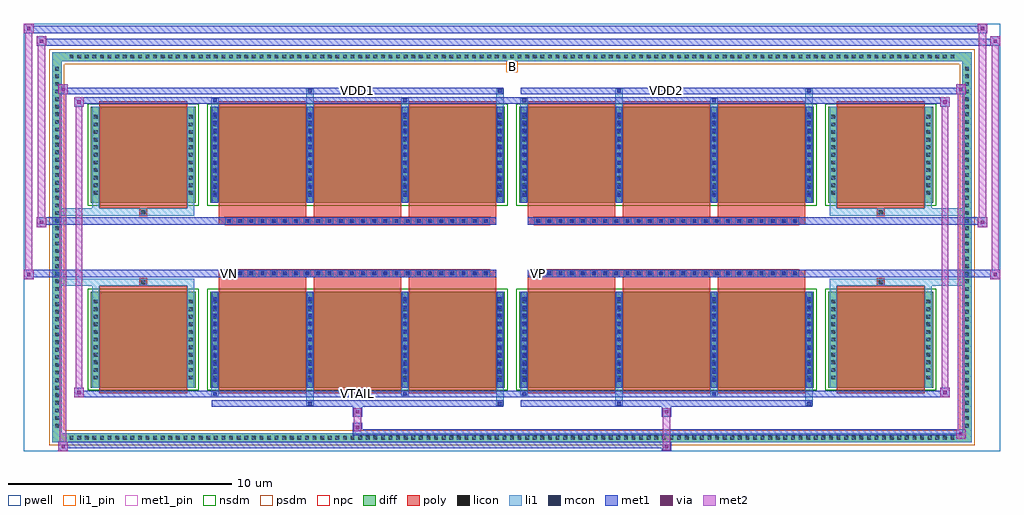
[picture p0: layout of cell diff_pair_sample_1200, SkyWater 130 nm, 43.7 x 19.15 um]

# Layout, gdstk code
import gdstk
lib = gdstk.Library(unit=1e-6, precision=5e-09)
def R(c, l, rs):  # rectangles x0, y0, x1, y1
    for r in rs: c.add(gdstk.rectangle(r[:2], r[2:], *l))
def A(c, l, x, y, w, h, nx, ny, dx, dy):  # array of equal rectangles
    R(c, l, [(x+i*dx, y+j*dy, x+i*dx+w, y+j*dy+h) for i in range(nx) for j in range(ny)])
def P(c, l, *ps):  # polygons
    for p in ps: c.add(gdstk.Polygon(p, *l))
pwell = (64, 44)
diff = (65, 20)
poly = (66, 20)
licon = (66, 44)
li1_pin = (67, 16)
li1 = (67, 20)
mcon = (67, 44)
met1_pin = (68, 16)
met1 = (68, 20)
via = (68, 44)
met2 = (69, 20)
nsdm = (93, 44)
psdm = (94, 20)
npc = (95, 20)

diff_pair_sample_1200 = lib.new_cell('diff_pair_sample_1200')
R(diff_pair_sample_1200, pwell, [(-21.85,-9.14,21.85,10.01), (-19.17,-7.33,-0.01,-0.805), (0.01,-7.33,19.17,-0.805), (-19.17,0.805,-0.01,7.33), (0.01,0.805,19.17,7.33)])
A(diff_pair_sample_1200, diff, -19.925, -8.74, 0.41, 0.41, 117, 2, 0.34, 17.07)
A(diff_pair_sample_1200, diff, -20.58, -8.195, 0.41, 0.41, 1, 48, 0, 0.34)
A(diff_pair_sample_1200, diff, 20.17, -8.195, 0.41, 0.41, 1, 48, 0, 0.34)
R(diff_pair_sample_1200, diff, [(-19.925,-8.74,19.925,-8.33), (-20.58,-8.195,-20.17,8.195), (20.17,-8.195,20.58,8.195), (-18.86,-6.285,-14.16,-1.985), (-13.52,-6.285,-0.32,-1.985), (0.32,-6.285,13.52,-1.985), (14.16,-6.285,18.86,-1.985), (-18.86,1.985,-14.16,6.285), (-13.52,1.985,-0.32,6.285), (0.32,1.985,13.52,6.285), (14.16,1.985,18.86,6.285), (-19.925,8.33,19.925,8.74)])
P(diff_pair_sample_1200, diff, [(20.58,8.74),(-20.58,8.74),(-20.58,-8.33),(-20.17,-8.33),(-20.17,8.33),(20.17,8.33),(20.17,-8.33),(-20.17,-8.33),(-20.58,-8.33),(-20.58,-8.74),(20.58,-8.74)])
A(diff_pair_sample_1200, poly, -13.13, -6.535, 3.92, 4.8, 3, 2, 4.25, 8.27)
A(diff_pair_sample_1200, poly, 0.71, -6.535, 3.92, 4.8, 3, 2, 4.25, 8.27)
A(diff_pair_sample_1200, poly, -13.13, -1.735, 3.92, 0.4, 3, 2, 4.25, 3.07)
A(diff_pair_sample_1200, poly, 0.71, -1.735, 3.92, 0.4, 3, 2, 4.25, 3.07)
A(diff_pair_sample_1200, poly, -12.835, -1.335, 0.33, 0.33, 24, 2, 0.5, 2.34)
A(diff_pair_sample_1200, poly, 1.005, -1.335, 0.33, 0.33, 24, 2, 0.5, 2.34)
R(diff_pair_sample_1200, poly, [(-18.47,-6.535,-14.55,-1.735), (14.55,-6.535,18.47,-1.735), (-16.675,-1.735,-16.345,-1.405), (-16.675,-1.735,-16.345,-1.405), (16.345,-1.735,16.675,-1.405), (16.345,-1.735,16.675,-1.405), (-13.13,-1.335,-0.71,-1.005), (0.71,-1.335,13.13,-1.005), (-13.13,1.005,-0.71,1.335), (0.71,1.005,13.13,1.335), (-16.675,1.405,-16.345,1.735), (-16.675,1.405,-16.345,1.735), (16.345,1.405,16.675,1.735), (16.345,1.405,16.675,1.735), (-18.47,1.735,-14.55,6.535), (14.55,1.735,18.47,6.535)])
A(diff_pair_sample_1200, licon, -19.805, -8.62, 0.17, 0.17, 117, 2, 0.34, 17.07)
A(diff_pair_sample_1200, licon, -20.46, -8.075, 0.17, 0.17, 1, 48, 0, 0.34)
A(diff_pair_sample_1200, licon, 20.29, -8.075, 0.17, 0.17, 1, 48, 0, 0.34)
A(diff_pair_sample_1200, licon, -18.72, -5.92, 0.17, 0.17, 1, 11, 0, 0.34)
A(diff_pair_sample_1200, licon, -14.47, -5.92, 0.17, 0.17, 1, 11, 0, 0.34)
A(diff_pair_sample_1200, licon, -13.38, -5.92, 0.17, 0.17, 4, 11, 4.25, 0.34)
A(diff_pair_sample_1200, licon, 0.46, -5.92, 0.17, 0.17, 4, 11, 4.25, 0.34)
A(diff_pair_sample_1200, licon, 14.3, -5.92, 0.17, 0.17, 1, 11, 0, 0.34)
A(diff_pair_sample_1200, licon, 18.55, -5.92, 0.17, 0.17, 1, 11, 0, 0.34)
A(diff_pair_sample_1200, licon, -12.755, -1.255, 0.17, 0.17, 24, 2, 0.5, 2.34)
A(diff_pair_sample_1200, licon, 1.085, -1.255, 0.17, 0.17, 24, 2, 0.5, 2.34)
A(diff_pair_sample_1200, licon, -18.72, 2.35, 0.17, 0.17, 1, 11, 0, 0.34)
A(diff_pair_sample_1200, licon, -14.47, 2.35, 0.17, 0.17, 1, 11, 0, 0.34)
A(diff_pair_sample_1200, licon, -13.38, 2.35, 0.17, 0.17, 4, 11, 4.25, 0.34)
A(diff_pair_sample_1200, licon, 0.46, 2.35, 0.17, 0.17, 4, 11, 4.25, 0.34)
A(diff_pair_sample_1200, licon, 14.3, 2.35, 0.17, 0.17, 1, 11, 0, 0.34)
A(diff_pair_sample_1200, licon, 18.55, 2.35, 0.17, 0.17, 1, 11, 0, 0.34)
R(diff_pair_sample_1200, licon, [(-16.595,-1.655,-16.425,-1.485), (16.425,-1.655,16.595,-1.485), (-16.595,1.485,-16.425,1.655), (16.425,1.485,16.595,1.655)])
R(diff_pair_sample_1200, li1_pin, [(-0.25,7.83,0.25,8.33)])
A(diff_pair_sample_1200, li1, -19.885, -8.7, 0.33, 0.33, 117, 2, 0.34, 17.07)
A(diff_pair_sample_1200, li1, -20.54, -8.155, 0.33, 0.33, 1, 48, 0, 0.34)
A(diff_pair_sample_1200, li1, 20.21, -8.155, 0.33, 0.33, 1, 48, 0, 0.34)
A(diff_pair_sample_1200, li1, -13.46, -6.285, 0.33, 4.3, 4, 2, 4.25, 8.27)
A(diff_pair_sample_1200, li1, 0.38, -6.285, 0.33, 4.3, 4, 2, 4.25, 8.27)
A(diff_pair_sample_1200, li1, -13.38, -6.02, 0.17, 0.17, 4, 11, 4.25, 0.36)
A(diff_pair_sample_1200, li1, -13.38, -6.02, 0.17, 3.77, 4, 2, 4.25, 8.27)
A(diff_pair_sample_1200, li1, 0.46, -6.02, 0.17, 0.17, 4, 11, 4.25, 0.36)
A(diff_pair_sample_1200, li1, 0.46, -6.02, 0.17, 3.77, 4, 2, 4.25, 8.27)
A(diff_pair_sample_1200, li1, -18.8, -6, 0.33, 0.33, 1, 11, 0, 0.34)
A(diff_pair_sample_1200, li1, -14.55, -6, 0.33, 0.33, 1, 11, 0, 0.34)
A(diff_pair_sample_1200, li1, -13.46, -6, 0.33, 0.33, 4, 11, 4.25, 0.34)
A(diff_pair_sample_1200, li1, 0.38, -6, 0.33, 0.33, 4, 11, 4.25, 0.34)
A(diff_pair_sample_1200, li1, 14.22, -6, 0.33, 0.33, 1, 11, 0, 0.34)
A(diff_pair_sample_1200, li1, 18.47, -6, 0.33, 0.33, 1, 11, 0, 0.34)
A(diff_pair_sample_1200, li1, -12.835, -1.335, 0.33, 0.33, 24, 2, 0.5, 2.34)
A(diff_pair_sample_1200, li1, 1.005, -1.335, 0.33, 0.33, 24, 2, 0.5, 2.34)
A(diff_pair_sample_1200, li1, -13.38, 2.25, 0.17, 0.17, 4, 11, 4.25, 0.36)
A(diff_pair_sample_1200, li1, 0.46, 2.25, 0.17, 0.17, 4, 11, 4.25, 0.36)
A(diff_pair_sample_1200, li1, -18.8, 2.27, 0.33, 0.33, 1, 11, 0, 0.34)
A(diff_pair_sample_1200, li1, -14.55, 2.27, 0.33, 0.33, 1, 11, 0, 0.34)
A(diff_pair_sample_1200, li1, -13.46, 2.27, 0.33, 0.33, 4, 11, 4.25, 0.34)
A(diff_pair_sample_1200, li1, 0.38, 2.27, 0.33, 0.33, 4, 11, 4.25, 0.34)
A(diff_pair_sample_1200, li1, 14.22, 2.27, 0.33, 0.33, 1, 11, 0, 0.34)
A(diff_pair_sample_1200, li1, 18.47, 2.27, 0.33, 0.33, 1, 11, 0, 0.34)
R(diff_pair_sample_1200, li1, [(-20.58,-8.74,-20.17,-8.33), (-20.58,-8.74,-20.17,-8.33), (-20.17,-8.74,20.17,-8.33), (20.17,-8.74,20.58,-8.33), (20.17,-8.74,20.58,-8.33), (-20.58,-8.33,-20.17,8.33), (20.17,-8.33,20.58,8.33), (-9.21,-7.09,-8.88,-6.285), (-9.13,-7.09,-8.96,-6.92), (-0.71,-7.09,-0.38,-6.285), (-0.63,-7.09,-0.46,-6.92), (4.63,-7.09,4.96,-6.285), (4.71,-7.09,4.88,-6.92), (13.13,-7.09,13.46,-6.285), (13.21,-7.09,13.38,-6.92), (-13.46,-6.66,-13.13,-6.285), (-13.38,-6.66,-13.21,-6.49), (-4.96,-6.66,-4.63,-6.285), (-4.88,-6.66,-4.71,-6.49), (0.38,-6.66,0.71,-6.285), (0.46,-6.66,0.63,-6.49), (8.88,-6.66,9.21,-6.285), (8.96,-6.66,9.13,-6.49), (-18.8,-6.285,-18.47,-1.985), (-14.55,-6.285,-14.22,-1.985), (14.22,-6.285,14.55,-1.985), (18.47,-6.285,18.8,-1.985), (-18.8,-1.985,-18.47,-1.405), (-14.55,-1.985,-14.22,-1.405), (14.22,-1.985,14.55,-1.405), (18.47,-1.985,18.8,-1.405), (-20.58,-1.735,-16.675,-1.405), (-18.8,-1.735,-16.675,-1.405), (-16.675,-1.735,-16.345,-1.405), (-16.345,-1.735,-14.22,-1.405), (14.22,-1.735,16.345,-1.405), (16.345,-1.735,16.675,-1.405), (16.345,-1.735,20.58,-1.405), (16.675,-1.735,18.8,-1.405), (-20.58,1.405,-16.675,1.735), (-18.8,1.405,-16.675,1.735), (-18.8,1.405,-18.47,1.985), (-16.675,1.405,-16.345,1.735), (-16.345,1.405,-14.22,1.735), (-14.55,1.405,-14.22,1.985), (14.22,1.405,16.345,1.735), (14.22,1.405,14.55,1.985), (16.345,1.405,16.675,1.735), (16.345,1.405,20.58,1.735), (16.675,1.405,18.8,1.735), (18.47,1.405,18.8,1.985), (-18.8,1.985,-18.47,6.285), (-14.55,1.985,-14.22,6.285), (14.22,1.985,14.55,6.285), (18.47,1.985,18.8,6.285), (-13.46,6.285,-13.13,6.66), (-9.21,6.285,-8.88,7.09), (-4.96,6.285,-4.63,6.66), (-0.71,6.285,-0.38,7.09), (0.38,6.285,0.71,6.66), (4.63,6.285,4.96,7.09), (8.88,6.285,9.21,6.66), (13.13,6.285,13.46,7.09), (-13.38,6.49,-13.21,6.66), (-4.88,6.49,-4.71,6.66), (0.46,6.49,0.63,6.66), (8.96,6.49,9.13,6.66), (-9.13,6.92,-8.96,7.09), (-0.63,6.92,-0.46,7.09), (4.71,6.92,4.88,7.09), (13.21,6.92,13.38,7.09), (-20.58,8.33,-20.17,8.74), (-20.58,8.33,-20.17,8.74), (-20.17,8.33,20.17,8.74), (20.17,8.33,20.58,8.74), (20.17,8.33,20.58,8.74)])
A(diff_pair_sample_1200, mcon, -13.38, -6.02, 0.17, 0.17, 4, 11, 4.25, 0.36)
A(diff_pair_sample_1200, mcon, 0.46, -6.02, 0.17, 0.17, 4, 11, 4.25, 0.36)
A(diff_pair_sample_1200, mcon, -12.755, -1.255, 0.17, 0.17, 24, 2, 0.5, 2.34)
A(diff_pair_sample_1200, mcon, 1.085, -1.255, 0.17, 0.17, 24, 2, 0.5, 2.34)
A(diff_pair_sample_1200, mcon, -13.38, 2.25, 0.17, 0.17, 4, 11, 4.25, 0.36)
A(diff_pair_sample_1200, mcon, 0.46, 2.25, 0.17, 0.17, 4, 11, 4.25, 0.36)
R(diff_pair_sample_1200, mcon, [(-9.13,-7.09,-8.96,-6.92), (-0.63,-7.09,-0.46,-6.92), (4.71,-7.09,4.88,-6.92), (13.21,-7.09,13.38,-6.92), (-13.38,-6.66,-13.21,-6.49), (-4.88,-6.66,-4.71,-6.49), (0.46,-6.66,0.63,-6.49), (8.96,-6.66,9.13,-6.49), (-13.38,6.49,-13.21,6.66), (-4.88,6.49,-4.71,6.66), (0.46,6.49,0.63,6.66), (8.96,6.49,9.13,6.66), (-9.13,6.92,-8.96,7.09), (-0.63,6.92,-0.46,7.09), (4.71,6.92,4.88,7.09), (13.21,6.92,13.38,7.09)])
R(diff_pair_sample_1200, met1_pin, [(-7.055,-6.7,-6.785,-6.43), (-12.805,-1.295,-12.535,-1.025), (1.035,-1.295,1.305,-1.025), (-7.055,6.88,-6.785,7.15), (6.785,6.88,7.055,7.15)])
A(diff_pair_sample_1200, met1, -13.44, -6.285, 0.29, 4.3, 4, 2, 4.25, 8.27)
A(diff_pair_sample_1200, met1, 0.4, -6.285, 0.29, 4.3, 4, 2, 4.25, 8.27)
A(diff_pair_sample_1200, met1, -13.44, -6.08, 0.29, 0.29, 4, 11, 4.25, 0.36)
A(diff_pair_sample_1200, met1, 0.4, -6.08, 0.29, 0.29, 4, 11, 4.25, 0.36)
A(diff_pair_sample_1200, met1, -12.815, -1.315, 0.29, 0.29, 24, 2, 0.5, 2.34)
A(diff_pair_sample_1200, met1, 1.025, -1.315, 0.29, 0.29, 24, 2, 0.5, 2.34)
A(diff_pair_sample_1200, met1, -13.44, 2.19, 0.29, 0.29, 4, 11, 4.25, 0.36)
A(diff_pair_sample_1200, met1, 0.4, 2.19, 0.29, 0.29, 4, 11, 4.25, 0.36)
R(diff_pair_sample_1200, met1, [(-20.31,-9.14,-19.88,-8.71), (6.705,-9.14,7.135,-8.71), (-20.31,-9,7.135,-8.71), (19.88,-8.57,20.31,-8.14), (-7.135,-8.43,20.31,-8.14), (-7.135,-8.29,-6.705,-7.86), (-7.135,-7.58,-6.705,-7.15), (6.705,-7.58,7.135,-7.15), (-13.44,-7.15,-0.4,-6.86), (-9.19,-7.15,-8.9,-6.86), (-0.69,-7.15,-0.4,-6.86), (0.4,-7.15,13.44,-6.86), (4.65,-7.15,4.94,-6.86), (13.15,-7.15,13.44,-6.86), (-19.6,-6.72,-19.17,-6.29), (-19.6,-6.72,-13.44,-6.43), (-13.44,-6.72,-13.15,-6.43), (-13.44,-6.72,-0.4,-6.43), (-4.94,-6.72,-4.65,-6.43), (-0.4,-6.72,0.4,-6.43), (0.4,-6.72,0.69,-6.43), (0.4,-6.72,13.44,-6.43), (8.9,-6.72,9.19,-6.43), (13.44,-6.72,19.6,-6.43), (19.17,-6.72,19.6,-6.29), (-21.85,-1.435,-21.42,-1.005), (21.42,-1.435,21.85,-1.005), (-21.85,-1.335,-0.71,-1.005), (-13.13,-1.335,-0.71,-1.005), (0.71,-1.335,13.13,-1.005), (0.71,-1.335,21.85,-1.005), (-21.28,0.905,-20.85,1.335), (20.85,0.905,21.28,1.335), (-21.28,1.005,-13.13,1.335), (-13.13,1.005,-0.71,1.335), (0.71,1.005,13.13,1.335), (13.13,1.005,21.28,1.335), (-19.6,6.29,-19.17,6.72), (19.17,6.29,19.6,6.72), (-19.6,6.43,-13.44,6.72), (-13.44,6.43,-13.15,6.72), (-13.44,6.43,-0.4,6.72), (-4.94,6.43,-4.65,6.72), (-0.4,6.43,0.4,6.72), (0.4,6.43,0.69,6.72), (0.4,6.43,13.44,6.72), (8.9,6.43,9.19,6.72), (13.44,6.43,19.6,6.72), (-20.31,6.86,-19.88,7.29), (-20.31,6.86,-13.44,7.15), (-13.44,6.86,-0.4,7.15), (-9.19,6.86,-8.9,7.15), (-0.69,6.86,-0.4,7.15), (0.4,6.86,13.44,7.15), (4.65,6.86,4.94,7.15), (13.15,6.86,13.44,7.15), (13.44,6.86,20.31,7.15), (19.88,6.86,20.31,7.29), (-21.28,9.01,-20.85,9.44), (-21.28,9.01,-19.17,9.34), (-19.17,9.01,19.17,9.34), (19.17,9.01,21.85,9.34), (21.42,9.01,21.85,9.44), (-21.85,9.58,-21.42,10.01), (-21.85,9.58,-19.17,9.91), (-19.17,9.58,19.17,9.91), (19.17,9.58,21.28,9.91), (20.85,9.58,21.28,10.01)])
R(diff_pair_sample_1200, via, [(-20.17,-9,-20.02,-8.85), (6.845,-9,6.995,-8.85), (20.02,-8.43,20.17,-8.28), (-6.995,-8.15,-6.845,-8), (-6.995,-7.44,-6.845,-7.29), (6.845,-7.44,6.995,-7.29), (-19.46,-6.58,-19.31,-6.43), (19.31,-6.58,19.46,-6.43), (-21.71,-1.295,-21.56,-1.145), (21.56,-1.295,21.71,-1.145), (-21.14,1.045,-20.99,1.195), (20.99,1.045,21.14,1.195), (-19.46,6.43,-19.31,6.58), (19.31,6.43,19.46,6.58), (-20.17,7,-20.02,7.15), (20.02,7,20.17,7.15), (-21.14,9.15,-20.99,9.3), (21.56,9.15,21.71,9.3), (-21.71,9.72,-21.56,9.87), (20.99,9.72,21.14,9.87)])
R(diff_pair_sample_1200, met2, [(-20.31,-9.14,-19.88,-8.71), (-20.24,-9.14,-19.95,7.29), (-19.95,-9.14,-19.88,-8.71), (-20.26,-9.09,-19.93,-8.76), (6.755,-9.09,7.085,-8.76), (6.755,-8.76,7.085,-7.53), (19.88,-8.57,20.31,-8.14), (19.95,-8.57,20.24,7.29), (20.24,-8.57,20.31,-8.14), (19.93,-8.52,20.26,-8.19), (-7.085,-8.24,-6.755,-7.91), (-7.085,-7.91,-6.755,-7.53), (-7.085,-7.53,-6.755,-7.2), (6.755,-7.53,7.085,-7.2), (-19.6,-6.72,-19.17,-6.29), (-19.53,-6.72,-19.24,6.72), (-19.24,-6.72,-19.17,-6.29), (19.17,-6.72,19.6,-6.29), (19.24,-6.72,19.53,6.72), (19.53,-6.72,19.6,-6.29), (-19.55,-6.67,-19.22,-6.34), (19.22,-6.67,19.55,-6.34), (-21.85,-1.435,-21.42,-1.005), (-21.8,-1.435,-21.47,10.01), (-21.47,-1.435,-21.42,-1.005), (21.42,-1.435,21.85,-1.005), (21.47,-1.435,21.8,9.44), (21.8,-1.435,21.85,-1.005), (-21.8,-1.385,-21.47,-1.055), (21.47,-1.385,21.8,-1.055), (-21.28,0.905,-20.85,1.335), (-21.23,0.905,-20.9,9.44), (-20.9,0.905,-20.85,1.335), (20.85,0.905,21.28,1.335), (20.9,0.905,21.23,10.01), (21.23,0.905,21.28,1.335), (-21.23,0.955,-20.9,1.285), (20.9,0.955,21.23,1.285), (-19.6,6.29,-19.17,6.72), (-19.24,6.29,-19.17,6.72), (19.17,6.29,19.6,6.72), (19.53,6.29,19.6,6.72), (-19.55,6.34,-19.22,6.67), (19.22,6.34,19.55,6.67), (-20.31,6.86,-19.88,7.29), (-19.95,6.86,-19.88,7.29), (19.88,6.86,20.31,7.29), (20.24,6.86,20.31,7.29), (-20.26,6.91,-19.93,7.24), (19.93,6.91,20.26,7.24), (-21.28,9.01,-20.85,9.44), (-20.9,9.01,-20.85,9.44), (21.42,9.01,21.85,9.44), (21.8,9.01,21.85,9.44), (-21.23,9.06,-20.9,9.39), (21.47,9.06,21.8,9.39), (-21.85,9.58,-21.42,10.01), (-21.47,9.58,-21.42,10.01), (20.85,9.58,21.28,10.01), (21.23,9.58,21.28,10.01), (-21.8,9.63,-21.47,9.96), (20.9,9.63,21.23,9.96)])
R(diff_pair_sample_1200, nsdm, [(-18.99,-6.415,-14.03,-1.855), (-13.65,-6.415,-0.19,-1.855), (0.19,-6.415,13.65,-1.855), (14.03,-6.415,18.99,-1.855), (-18.99,1.855,-14.03,6.415), (-13.65,1.855,-0.19,6.415), (0.19,1.855,13.65,6.415), (14.03,1.855,18.99,6.415)])
P(diff_pair_sample_1200, psdm, [(20.71,8.87),(-20.71,8.87),(-20.71,-8.2),(-20.04,-8.2),(-20.04,8.2),(20.04,8.2),(20.04,-8.2),(-20.04,-8.2),(-20.71,-8.2),(-20.71,-8.87),(20.71,-8.87)])
A(diff_pair_sample_1200, npc, -12.855, -1.355, 0.37, 0.37, 24, 2, 0.5, 2.34)
A(diff_pair_sample_1200, npc, 0.985, -1.355, 0.37, 0.37, 24, 2, 0.5, 2.34)
R(diff_pair_sample_1200, npc, [(-16.695,-1.755,-16.325,-1.385), (16.325,-1.755,16.695,-1.385), (-12.855,-1.355,-11.985,-0.985), (-12.855,-1.355,-11.985,-0.985), (-12.355,-1.355,-11.485,-0.985), (-12.355,-1.355,-11.485,-0.985), (-11.855,-1.355,-10.985,-0.985), (-11.855,-1.355,-10.985,-0.985), (-11.355,-1.355,-10.485,-0.985), (-11.355,-1.355,-10.485,-0.985), (-10.855,-1.355,-9.985,-0.985), (-10.855,-1.355,-9.985,-0.985), (-10.355,-1.355,-9.485,-0.985), (-10.355,-1.355,-9.485,-0.985), (-9.855,-1.355,-8.985,-0.985), (-9.855,-1.355,-8.985,-0.985), (-9.355,-1.355,-8.485,-0.985), (-9.355,-1.355,-8.485,-0.985), (-8.855,-1.355,-7.985,-0.985), (-8.855,-1.355,-7.985,-0.985), (-8.355,-1.355,-7.485,-0.985), (-8.355,-1.355,-7.485,-0.985), (-7.855,-1.355,-6.985,-0.985), (-7.855,-1.355,-6.985,-0.985), (-7.355,-1.355,-6.485,-0.985), (-7.355,-1.355,-6.485,-0.985), (-6.855,-1.355,-5.985,-0.985), (-6.855,-1.355,-5.985,-0.985), (-6.355,-1.355,-5.485,-0.985), (-6.355,-1.355,-5.485,-0.985), (-5.855,-1.355,-4.985,-0.985), (-5.855,-1.355,-4.985,-0.985), (-5.355,-1.355,-4.485,-0.985), (-5.355,-1.355,-4.485,-0.985), (-4.855,-1.355,-3.985,-0.985), (-4.855,-1.355,-3.985,-0.985), (-4.355,-1.355,-3.485,-0.985), (-4.355,-1.355,-3.485,-0.985), (-3.855,-1.355,-2.985,-0.985), (-3.855,-1.355,-2.985,-0.985), (-3.355,-1.355,-2.485,-0.985), (-3.355,-1.355,-2.485,-0.985), (-2.855,-1.355,-1.985,-0.985), (-2.855,-1.355,-1.985,-0.985), (-2.355,-1.355,-1.485,-0.985), (-2.355,-1.355,-1.485,-0.985), (-1.855,-1.355,-0.985,-0.985), (-1.855,-1.355,-0.985,-0.985), (0.985,-1.355,1.855,-0.985), (0.985,-1.355,1.855,-0.985), (1.485,-1.355,2.355,-0.985), (1.485,-1.355,2.355,-0.985), (1.985,-1.355,2.855,-0.985), (1.985,-1.355,2.855,-0.985), (2.485,-1.355,3.355,-0.985), (2.485,-1.355,3.355,-0.985), (2.985,-1.355,3.855,-0.985), (2.985,-1.355,3.855,-0.985), (3.485,-1.355,4.355,-0.985), (3.485,-1.355,4.355,-0.985), (3.985,-1.355,4.855,-0.985), (3.985,-1.355,4.855,-0.985), (4.485,-1.355,5.355,-0.985), (4.485,-1.355,5.355,-0.985), (4.985,-1.355,5.855,-0.985), (4.985,-1.355,5.855,-0.985), (5.485,-1.355,6.355,-0.985), (5.485,-1.355,6.355,-0.985), (5.985,-1.355,6.855,-0.985), (5.985,-1.355,6.855,-0.985), (6.485,-1.355,7.355,-0.985), (6.485,-1.355,7.355,-0.985), (6.985,-1.355,7.855,-0.985), (6.985,-1.355,7.855,-0.985), (7.485,-1.355,8.355,-0.985), (7.485,-1.355,8.355,-0.985), (7.985,-1.355,8.855,-0.985), (7.985,-1.355,8.855,-0.985), (8.485,-1.355,9.355,-0.985), (8.485,-1.355,9.355,-0.985), (8.985,-1.355,9.855,-0.985), (8.985,-1.355,9.855,-0.985), (9.485,-1.355,10.355,-0.985), (9.485,-1.355,10.355,-0.985), (9.985,-1.355,10.855,-0.985), (9.985,-1.355,10.855,-0.985), (10.485,-1.355,11.355,-0.985), (10.485,-1.355,11.355,-0.985), (10.985,-1.355,11.855,-0.985), (10.985,-1.355,11.855,-0.985), (11.485,-1.355,12.355,-0.985), (11.485,-1.355,12.355,-0.985), (11.985,-1.355,12.855,-0.985), (11.985,-1.355,12.855,-0.985), (-12.855,0.985,-11.985,1.355), (-12.855,0.985,-11.985,1.355), (-12.355,0.985,-11.485,1.355), (-12.355,0.985,-11.485,1.355), (-11.855,0.985,-10.985,1.355), (-11.855,0.985,-10.985,1.355), (-11.355,0.985,-10.485,1.355), (-11.355,0.985,-10.485,1.355), (-10.855,0.985,-9.985,1.355), (-10.855,0.985,-9.985,1.355), (-10.355,0.985,-9.485,1.355), (-10.355,0.985,-9.485,1.355), (-9.855,0.985,-8.985,1.355), (-9.855,0.985,-8.985,1.355), (-9.355,0.985,-8.485,1.355), (-9.355,0.985,-8.485,1.355), (-8.855,0.985,-7.985,1.355), (-8.855,0.985,-7.985,1.355), (-8.355,0.985,-7.485,1.355), (-8.355,0.985,-7.485,1.355), (-7.855,0.985,-6.985,1.355), (-7.855,0.985,-6.985,1.355), (-7.355,0.985,-6.485,1.355), (-7.355,0.985,-6.485,1.355), (-6.855,0.985,-5.985,1.355), (-6.855,0.985,-5.985,1.355), (-6.355,0.985,-5.485,1.355), (-6.355,0.985,-5.485,1.355), (-5.855,0.985,-4.985,1.355), (-5.855,0.985,-4.985,1.355), (-5.355,0.985,-4.485,1.355), (-5.355,0.985,-4.485,1.355), (-4.855,0.985,-3.985,1.355), (-4.855,0.985,-3.985,1.355), (-4.355,0.985,-3.485,1.355), (-4.355,0.985,-3.485,1.355), (-3.855,0.985,-2.985,1.355), (-3.855,0.985,-2.985,1.355), (-3.355,0.985,-2.485,1.355), (-3.355,0.985,-2.485,1.355), (-2.855,0.985,-1.985,1.355), (-2.855,0.985,-1.985,1.355), (-2.355,0.985,-1.485,1.355), (-2.355,0.985,-1.485,1.355), (-1.855,0.985,-0.985,1.355), (-1.855,0.985,-0.985,1.355), (0.985,0.985,1.855,1.355), (0.985,0.985,1.855,1.355), (1.485,0.985,2.355,1.355), (1.485,0.985,2.355,1.355), (1.985,0.985,2.855,1.355), (1.985,0.985,2.855,1.355), (2.485,0.985,3.355,1.355), (2.485,0.985,3.355,1.355), (2.985,0.985,3.855,1.355), (2.985,0.985,3.855,1.355), (3.485,0.985,4.355,1.355), (3.485,0.985,4.355,1.355), (3.985,0.985,4.855,1.355), (3.985,0.985,4.855,1.355), (4.485,0.985,5.355,1.355), (4.485,0.985,5.355,1.355), (4.985,0.985,5.855,1.355), (4.985,0.985,5.855,1.355), (5.485,0.985,6.355,1.355), (5.485,0.985,6.355,1.355), (5.985,0.985,6.855,1.355), (5.985,0.985,6.855,1.355), (6.485,0.985,7.355,1.355), (6.485,0.985,7.355,1.355), (6.985,0.985,7.855,1.355), (6.985,0.985,7.855,1.355), (7.485,0.985,8.355,1.355), (7.485,0.985,8.355,1.355), (7.985,0.985,8.855,1.355), (7.985,0.985,8.855,1.355), (8.485,0.985,9.355,1.355), (8.485,0.985,9.355,1.355), (8.985,0.985,9.855,1.355), (8.985,0.985,9.855,1.355), (9.485,0.985,10.355,1.355), (9.485,0.985,10.355,1.355), (9.985,0.985,10.855,1.355), (9.985,0.985,10.855,1.355), (10.485,0.985,11.355,1.355), (10.485,0.985,11.355,1.355), (10.985,0.985,11.855,1.355), (10.985,0.985,11.855,1.355), (11.485,0.985,12.355,1.355), (11.485,0.985,12.355,1.355), (11.985,0.985,12.855,1.355), (11.985,0.985,12.855,1.355), (-16.695,1.385,-16.325,1.755), (16.325,1.385,16.695,1.755)])
diff_pair_sample_1200.add(gdstk.Label('VTAIL', (-6.92,-6.565), layer=68, texttype=5))
diff_pair_sample_1200.add(gdstk.Label('VN', (-12.67,-1.16), layer=68, texttype=5))
diff_pair_sample_1200.add(gdstk.Label('VP', (1.17,-1.16), layer=68, texttype=5))
diff_pair_sample_1200.add(gdstk.Label('B', (0,8.08), layer=67, texttype=5))
diff_pair_sample_1200.add(gdstk.Label('VDD2', (6.92,7.015), layer=68, texttype=5))
diff_pair_sample_1200.add(gdstk.Label('VDD1', (-6.92,7.015), layer=68, texttype=5))

lib.write_gds('diff_pair_sample_1200.gds')
